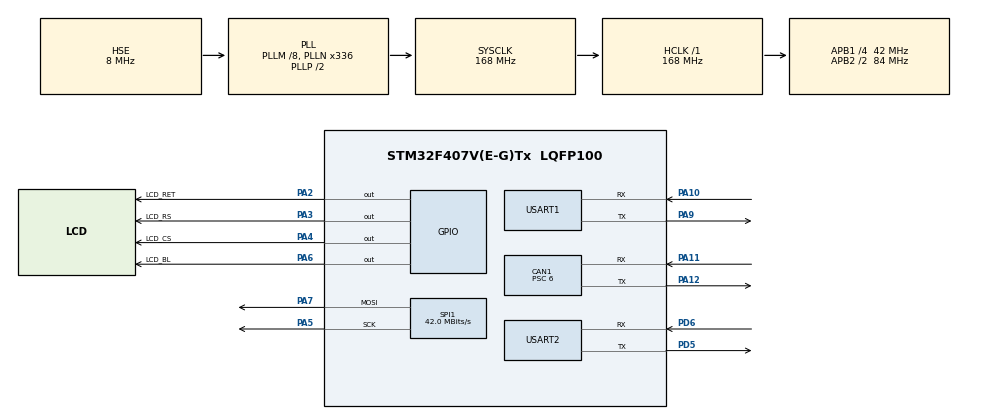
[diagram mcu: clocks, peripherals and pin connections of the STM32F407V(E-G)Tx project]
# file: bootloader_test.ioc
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CAN1.ABOM=ENABLE
CAN1.BS1=CAN_BS1_11TQ
CAN1.BS2=CAN_BS2_2TQ
CAN1.CalculateBaudRate=500000
CAN1.CalculateTimeBit=2000
CAN1.CalculateTimeQuantum=142.85714285714286
CAN1.NART=ENABLE
CAN1.Prescaler=6
CAN1.RFLM=DISABLE
CAN1.TXFP=ENABLE
Dma.Request0=USART1_RX
Dma.Request1=USART1_TX
Dma.Request2=SPI1_TX
Dma.Request3=USART2_RX
Dma.Request4=USART2_TX
Dma.SPI1_TX.2.Direction=DMA_MEMORY_TO_PERIPH
Dma.SPI1_TX.2.FIFOMode=DMA_FIFOMODE_DISABLE
Dma.SPI1_TX.2.Instance=DMA2_Stream3
Dma.SPI1_TX.2.MemDataAlignment=DMA_MDATAALIGN_BYTE
Dma.SPI1_TX.2.MemInc=DMA_MINC_ENABLE
Dma.SPI1_TX.2.Mode=DMA_NORMAL
Dma.SPI1_TX.2.PeriphDataAlignment=DMA_PDATAALIGN_BYTE
Dma.SPI1_TX.2.PeriphInc=DMA_PINC_DISABLE
Dma.SPI1_TX.2.Priority=DMA_PRIORITY_LOW
Dma.USART1_RX.0.Direction=DMA_PERIPH_TO_MEMORY
Dma.USART1_RX.0.FIFOMode=DMA_FIFOMODE_DISABLE
Dma.USART1_RX.0.Instance=DMA2_Stream2
Dma.USART1_RX.0.MemDataAlignment=DMA_MDATAALIGN_BYTE
Dma.USART1_RX.0.MemInc=DMA_MINC_ENABLE
Dma.USART1_RX.0.Mode=DMA_CIRCULAR
Dma.USART1_RX.0.PeriphDataAlignment=DMA_PDATAALIGN_BYTE
Dma.USART1_RX.0.PeriphInc=DMA_PINC_DISABLE
Dma.USART1_RX.0.Priority=DMA_PRIORITY_LOW
Dma.USART1_TX.1.Direction=DMA_MEMORY_TO_PERIPH
Dma.USART1_TX.1.FIFOMode=DMA_FIFOMODE_DISABLE
Dma.USART1_TX.1.Instance=DMA2_Stream7
Dma.USART1_TX.1.MemDataAlignment=DMA_MDATAALIGN_BYTE
Dma.USART1_TX.1.MemInc=DMA_MINC_ENABLE
Dma.USART1_TX.1.Mode=DMA_NORMAL
Dma.USART1_TX.1.PeriphDataAlignment=DMA_PDATAALIGN_BYTE
Dma.USART1_TX.1.PeriphInc=DMA_PINC_DISABLE
Dma.USART1_TX.1.Priority=DMA_PRIORITY_LOW
Dma.USART2_RX.3.Direction=DMA_PERIPH_TO_MEMORY
Dma.USART2_RX.3.FIFOMode=DMA_FIFOMODE_DISABLE
Dma.USART2_RX.3.Instance=DMA1_Stream5
Dma.USART2_RX.3.MemDataAlignment=DMA_MDATAALIGN_BYTE
Dma.USART2_RX.3.MemInc=DMA_MINC_ENABLE
Dma.USART2_RX.3.Mode=DMA_CIRCULAR
Dma.USART2_RX.3.PeriphDataAlignment=DMA_PDATAALIGN_BYTE
Dma.USART2_RX.3.PeriphInc=DMA_PINC_DISABLE
Dma.USART2_RX.3.Priority=DMA_PRIORITY_LOW
Dma.USART2_TX.4.Direction=DMA_MEMORY_TO_PERIPH
Dma.USART2_TX.4.FIFOMode=DMA_FIFOMODE_DISABLE
Dma.USART2_TX.4.Instance=DMA1_Stream6
Dma.USART2_TX.4.MemDataAlignment=DMA_MDATAALIGN_BYTE
Dma.USART2_TX.4.MemInc=DMA_MINC_ENABLE
Dma.USART2_TX.4.Mode=DMA_NORMAL
Dma.USART2_TX.4.PeriphDataAlignment=DMA_PDATAALIGN_BYTE
Dma.USART2_TX.4.PeriphInc=DMA_PINC_DISABLE
Dma.USART2_TX.4.Priority=DMA_PRIORITY_LOW
FREERTOS.Tasks01=led,0,128,ledTask,Default,NULL,Dynamic,NULL,NULL;oledmenu,0,256,oledmenuTask,Default,NULL,Dynamic,NULL,NULL;wifi_get,2,384,wifi_getTask,Default,NULL,Dynamic,NULL,NULL;ota_flash,2,256,ota_flashTask,Default,NULL,Dynamic,NULL,NULL;request_upgrade,0,128,request_upgradeTask,Default,NULL,Dynamic,NULL,NULL;lcd,-1,256,lcd_task,Default,NULL,Dynamic,NULL,NULL;feeddogTask,2,128,feeddog,Default,NULL,Dynamic,NULL,NULL;can_send,-3,128,cansend_Task,Default,NULL,Dynamic,NULL,NULL;can_get,-3,128,canget_Task,Default,NULL,Dynamic,NULL,NULL
IWDG.Prescaler=IWDG_PRESCALER_64
Mcu.Family=STM32F4
Mcu.Name=STM32F407V(E-G)Tx
Mcu.Package=LQFP100
NVIC.CAN1_RX0_IRQn=true\:5\:0\:false\:false\:true\:true\:true\:true\:true
NVIC.CAN1_SCE_IRQn=true\:7\:0\:true\:false\:true\:true\:true\:true\:true
NVIC.CAN1_TX_IRQn=true\:6\:0\:true\:false\:true\:true\:true\:true\:true
NVIC.DMA1_Stream5_IRQn=true\:5\:0\:false\:false\:true\:true\:false\:true\:true
NVIC.DMA1_Stream6_IRQn=true\:5\:0\:false\:false\:true\:true\:false\:true\:true
NVIC.DMA2_Stream2_IRQn=true\:5\:0\:false\:false\:true\:true\:false\:true\:true
NVIC.DMA2_Stream3_IRQn=true\:5\:0\:false\:false\:true\:true\:false\:true\:true
NVIC.DMA2_Stream7_IRQn=true\:5\:0\:false\:false\:true\:true\:false\:true\:true
NVIC.PriorityGroup=NVIC_PRIORITYGROUP_4
NVIC.SPI1_IRQn=true\:5\:0\:false\:false\:true\:true\:true\:true\:true
NVIC.TIM1_UP_TIM10_IRQn=true\:15\:0\:false\:false\:true\:false\:false\:true\:true
NVIC.TimeBase=TIM1_UP_TIM10_IRQn
NVIC.TimeBaseIP=TIM1
NVIC.USART1_IRQn=true\:5\:0\:false\:false\:true\:true\:false\:true\:true
NVIC.USART2_IRQn=true\:5\:0\:false\:false\:true\:true\:true\:true\:true
PA10.Mode=Asynchronous
PA10.Signal=USART1_RX
PA11.Mode=CAN_Activate
PA11.Signal=CAN1_RX
PA12.Mode=CAN_Activate
PA12.Signal=CAN1_TX
PA13.Mode=Serial_Wire
PA13.Signal=SYS_JTMS-SWDIO
PA14.Mode=Serial_Wire
PA14.Signal=SYS_JTCK-SWCLK
PA2.GPIO_Label=LCD_RET
PA2.GPIO_Speed=GPIO_SPEED_FREQ_MEDIUM
PA2.Signal=GPIO_Output
PA3.GPIO_Label=LCD_RS
PA3.GPIO_Speed=GPIO_SPEED_FREQ_MEDIUM
PA3.Signal=GPIO_Output
PA4.GPIO_Label=LCD_CS
PA4.GPIO_Speed=GPIO_SPEED_FREQ_MEDIUM
PA4.Signal=GPIO_Output
PA5.GPIO_Speed=GPIO_SPEED_FREQ_VERY_HIGH
PA5.Mode=TX_Only_Simplex_Unidirect_Master
PA5.Signal=SPI1_SCK
PA6.GPIO_Label=LCD_BL
PA6.GPIO_Speed=GPIO_SPEED_FREQ_MEDIUM
PA6.Signal=GPIO_Output
PA7.GPIO_Speed=GPIO_SPEED_FREQ_VERY_HIGH
PA7.Mode=TX_Only_Simplex_Unidirect_Master
PA7.Signal=SPI1_MOSI
PA9.Mode=Asynchronous
PA9.Signal=USART1_TX
PC14-OSC32_IN.Mode=LSE-External-Oscillator
PC14-OSC32_IN.Signal=RCC_OSC32_IN
PC15-OSC32_OUT.Mode=LSE-External-Oscillator
PC15-OSC32_OUT.Signal=RCC_OSC32_OUT
PD5.Mode=Asynchronous
PD5.Signal=USART2_TX
PD6.Mode=Asynchronous
PD6.Signal=USART2_RX
PH0-OSC_IN.Mode=HSE-External-Oscillator
PH0-OSC_IN.Signal=RCC_OSC_IN
PH1-OSC_OUT.Mode=HSE-External-Oscillator
PH1-OSC_OUT.Signal=RCC_OSC_OUT
ProjectManager.HeapSize=0x200
ProjectManager.StackSize=0x400
ProjectManager.TargetToolchain=MDK-ARM V5.32
RCC.48MHZClocksFreq_Value=84000000
RCC.AHBFreq_Value=168000000
RCC.APB1CLKDivider=RCC_HCLK_DIV4
RCC.APB1Freq_Value=42000000
RCC.APB1TimFreq_Value=84000000
RCC.APB2CLKDivider=RCC_HCLK_DIV2
RCC.APB2Freq_Value=84000000
RCC.APB2TimFreq_Value=168000000
RCC.CortexFreq_Value=168000000
RCC.HCLKFreq_Value=168000000
RCC.HSE_VALUE=8000000
RCC.HSI_VALUE=16000000
RCC.PLLM=8
RCC.PLLN=336
RCC.PLLSourceVirtual=RCC_PLLSOURCE_HSE
RCC.SYSCLKFreq_VALUE=168000000
RCC.SYSCLKSource=RCC_SYSCLKSOURCE_PLLCLK
RCC.VCOOutputFreq_Value=336000000
SPI1.CalculateBaudRate=42.0 MBits/s
SPI1.Direction=SPI_DIRECTION_2LINES
SPI1.Mode=SPI_MODE_MASTER
SPI1.VirtualType=VM_MASTER
USART1.VirtualMode=VM_ASYNC
USART2.VirtualMode=VM_ASYNC
VP_FREERTOS_VS_CMSIS_V1.Mode=CMSIS_V1
VP_IWDG_VS_IWDG.Mode=IWDG_Activate
VP_SYS_VS_tim1.Mode=TIM1
board=custom

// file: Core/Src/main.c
/* USER CODE BEGIN Header */
/**
 ******************************************************************************
 * @file           : main.c
 * @brief          : Main program body
 ******************************************************************************
 * @attention
 *
 * Copyright (c) 2026 STMicroelectronics.
 * All rights reserved.
 *
 * This software is licensed under terms that can be found in the LICENSE file
 * in the root directory of this software component.
 * If no LICENSE file comes with this software, it is provided AS-IS.
 *
 ******************************************************************************
 */
/* USER CODE END Header */
#include "main.h"
#include "cmsis_os.h"
#include "can.h"
#include "dma.h"
#include "iwdg.h"
#include "spi.h"
#include "usart.h"
#include "gpio.h"

/* USER CODE BEGIN Includes */
#include "ota_receive.h"
#include <stdio.h>
/* USER CODE END Includes */

void SystemClock_Config(void);
void MX_FREERTOS_Init(void);

int main(void)
{

  /* USER CODE BEGIN 1 */
	/* 向量表必须指向本镜像实际链接的槽：A 版 0x08020000，B 版 0x08060000 */
	SCB->VTOR = APP_IMAGE_BASE;
  /* USER CODE END 1 */

  /* MCU Configuration--------------------------------------------------------*/

  /* Reset of all peripherals, Initializes the Flash interface and the Systick. */
  HAL_Init();

  /* Configure the system clock */
  SystemClock_Config();

  /* Initialize all configured peripherals */
  MX_GPIO_Init();
  MX_DMA_Init();
  MX_USART1_UART_Init();
  MX_SPI1_Init();
  MX_IWDG_Init();
  MX_CAN1_Init();
  MX_USART2_UART_Init();
  /* USER CODE BEGIN 2 */

	/* 编译时间戳：确认板子上跑的到底是不是刚烧进去的这一版 */
	boot_log("[boot] build " __DATE__ " " __TIME__ "\r\n");

	GPIO_InitTypeDef GPIO_InitStructure;
	GPIO_InitStructure.Pin = GPIO_PIN_1;
	GPIO_InitStructure.Mode = GPIO_MODE_OUTPUT_PP;
	GPIO_InitStructure.Speed = GPIO_SPEED_FREQ_MEDIUM;
	HAL_GPIO_Init(GPIOA, &GPIO_InitStructure);

	/*
	 * 启动初始化：
	 *   1. 元数据缺失时用当前运行槽建立第一份配置；
	 *   2. Bootloader 若做过回退，这里修正 active_slot 并标记失败槽；
	 *   3. 注意：不清 trial_pending，试运行确认由心跳任务在健康运行 5s 后完成。
	 */
	ota_app_boot_init(APP_IMAGE_BASE);
	boot_log("[boot] 6 meta ok\r\n");

	/*
	 * F103 镜像暂存区自测：擦 S4 + 三处写图案 + 读回比对，耗时约 1~2 秒。
	 * 它会擦掉 S4 里已暂存的镜像，正式使用前把 OTA_STAGING_SELFTEST_ON_BOOT 改成 0。
	 */
#if OTA_STAGING_SELFTEST_ON_BOOT
	{
		char stg_line[48];
		int  stg_rc = ota_staging_selftest();

		(void)snprintf(stg_line, sizeof(stg_line), "[stg] selftest %s rc=%d\r\n",
		               (stg_rc == 0) ? "ok" : "FAIL", stg_rc);
		boot_log(stg_line);
	}
#endif

	/*
	 * CAN 初始化放到任务里执行：
	 * CAN 外设异常（无收发器、波特率配错、邮箱卡死）不应该把整个系统拖死在启动阶段，
	 * 否则表现就是"Bootloader 反复重启、APP 一句日志都看不到"。
	 */
	if (xTaskCreate(can_start_task, "canInit", 256, NULL, 3, NULL) != pdPASS)
	{
		boot_log("[boot] can task create fail\r\n");
	}
	boot_log("[boot] 7 start scheduler\r\n");

  /* USER CODE END 2 */

  /* Call init function for freertos objects (in cmsis_os2.c) */
  MX_FREERTOS_Init();

  /* Start scheduler */
  osKernelStart();

  /* We should never get here as control is now taken by the scheduler */

  /* Infinite loop */
	while (1)
	{

	}
}

void SystemClock_Config(void)
{
  RCC_OscInitTypeDef RCC_OscInitStruct = {0};
  RCC_ClkInitTypeDef RCC_ClkInitStruct = {0};

  /** Configure the main internal regulator output voltage
  */
  __HAL_RCC_PWR_CLK_ENABLE();
  __HAL_PWR_VOLTAGESCALING_CONFIG(PWR_REGULATOR_VOLTAGE_SCALE1);

  /** Initializes the RCC Oscillators according to the specified parameters
  * in the RCC_OscInitTypeDef structure.
  */
  RCC_OscInitStruct.OscillatorType = RCC_OSCILLATORTYPE_LSI|RCC_OSCILLATORTYPE_HSE;
  RCC_OscInitStruct.HSEState = RCC_HSE_ON;
  RCC_OscInitStruct.LSIState = RCC_LSI_ON;
  RCC_OscInitStruct.PLL.PLLState = RCC_PLL_ON;
  RCC_OscInitStruct.PLL.PLLSource = RCC_PLLSOURCE_HSE;
  RCC_OscInitStruct.PLL.PLLM = 8;
  RCC_OscInitStruct.PLL.PLLN = 336;
  RCC_OscInitStruct.PLL.PLLP = RCC_PLLP_DIV2;
  RCC_OscInitStruct.PLL.PLLQ = 4;
  if (HAL_RCC_OscConfig(&RCC_OscInitStruct) != HAL_OK)
  {
    Error_Handler();
  }

  /** Initializes the CPU, AHB and APB buses clocks
  */
  RCC_ClkInitStruct.ClockType = RCC_CLOCKTYPE_HCLK|RCC_CLOCKTYPE_SYSCLK
                              |RCC_CLOCKTYPE_PCLK1|RCC_CLOCKTYPE_PCLK2;
  RCC_ClkInitStruct.SYSCLKSource = RCC_SYSCLKSOURCE_PLLCLK;
  RCC_ClkInitStruct.AHBCLKDivider = RCC_SYSCLK_DIV1;
  RCC_ClkInitStruct.APB1CLKDivider = RCC_HCLK_DIV4;
  RCC_ClkInitStruct.APB2CLKDivider = RCC_HCLK_DIV2;

  if (HAL_RCC_ClockConfig(&RCC_ClkInitStruct, FLASH_LATENCY_5) != HAL_OK)
  {
    Error_Handler();
  }
}

void HAL_TIM_PeriodElapsedCallback(TIM_HandleTypeDef *htim)
{
  if (htim->Instance == TIM1)
  {
    HAL_IncTick();
  }
}

void Error_Handler(void)
{
	__disable_irq();
	while (1)
	{
	}
}

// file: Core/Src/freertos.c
/* USER CODE BEGIN Header */
/**
 ******************************************************************************
 * File Name          : freertos.c
 * Description        : Code for freertos applications
 ******************************************************************************
 * @attention
 *
 * Copyright (c) 2026 STMicroelectronics.
 * All rights reserved.
 *
 * This software is licensed under terms that can be found in the LICENSE file
 * in the root directory of this software component.
 * If no LICENSE file comes with this software, it is provided AS-IS.
 *
 ******************************************************************************
 */
/* USER CODE END Header */

#include "FreeRTOS.h"
#include "task.h"
#include "main.h"
#include "cmsis_os.h"

/* USER CODE BEGIN Includes */
#include "stm32f4xx_hal.h"
#include <stdio.h>
#include "string.h"
#include "usart.h"
#include "iwdg.h"
#include "wifi.h"
#include "ota_receive.h"
#include "isotp.h"
#include "uds.h"
#include "stream_buffer.h"
#include "queue.h"
#include "QDTFT_demo.h"
#include "Lcd_Driver.h"
#include "GUI.h"
/* USER CODE END Includes */

/* ==================== 临时联调任务 ==================== */
/*
 * 【临时】上电后对 node 1 跑一遍 UDS 下发链路，验证 F407 侧能不能正确发出
 * ISO-TP 的首帧/连续帧，以及"没有人回响应"时超时逻辑是否正常。
 *
 * F103 侧还没写好，所以预期输出：
 *   0x10 请求   -> 1 秒后返回 rc=-2（UDS_E_TIMEOUT）
 *   300 字节    -> 首帧发出后等流控 2 秒，返回 rc=-3（ISOTP_E_FC_TIMEOUT），frames=1
 *
 * frames=1 就说明首帧确实上了总线；如果 frames=0，问题在 can_if_send，不在协议层。
 * 联调完成后把 UDS_BOOT_TEST 改成 0，这段代码就不再参与编译。
 */
#ifndef UDS_BOOT_TEST
#define UDS_BOOT_TEST 1
#endif

#if UDS_BOOT_TEST
static uint8_t s_test_pdu[300];

/* 任务上下文里必须走 uart_send（互斥 + DMA），不能用 boot_log：
   boot_log 是阻塞式 HAL_UART_Transmit，和别的任务的 DMA 发送撞上时会直接
   返回 HAL_BUSY，字符串被静默丢弃——日志看着像"卡住了"，其实只是没打出来。 */
static void uds_log(const char *s)
{
	uart_send((const uint8_t *)s, (uint16_t)strlen(s));
}

static void uds_test_task(void const *argument)
{
	char     s[112];
	uint32_t i;
	uint32_t t0;
	int      rc;

	(void)argument;
	osDelay(3000);                     /* 等 CAN 初始化、心跳确认稳定 */

	for (i = 0U; i < sizeof(s_test_pdu); i++) {
		s_test_pdu[i] = (uint8_t)(i + 1U);
	}

	/* ① 会话控制：2 字节单帧请求，看能不能等到响应（当前必然超时） */
	t0 = HAL_GetTick();
	rc = uds_session(1U, UDS_SESSION_PROGRAM);
	(void)snprintf(s, sizeof(s), "[uds] 0x10 rc=%d nrc=%02X to=%u req=%u t=%ums\r\n",
	               rc,
	               (unsigned)uds_get_stat()->last_nrc,
	               (unsigned)uds_get_stat()->timeouts,
	               (unsigned)uds_get_stat()->requests,
	               (unsigned)(HAL_GetTick() - t0));
	uds_log(s);

	/* ② 300 字节 PDU：验证首帧发出、等流控、超时返回 */
	uds_log("[uds] step2 send 300B\r\n");
	isotp_reset_stat();
	t0 = HAL_GetTick();
	rc = isotp_send(UDS_REQ_ID(1U), UDS_RESP_ID(1U), s_test_pdu,
	                (uint32_t)sizeof(s_test_pdu), 2000U);
	(void)snprintf(s, sizeof(s), "[uds] isotp300 rc=%d frames=%u fcTO=%u t=%ums\r\n",
	               rc,
	               (unsigned)isotp_get_stat()->frames_sent,
	               (unsigned)isotp_get_stat()->fc_timeouts,
	               (unsigned)(HAL_GetTick() - t0));
	uds_log(s);

	uds_log("[uds] test done\r\n");
	vTaskDelete(NULL);                 /* 一次性任务，跑完自己退场 */
}
#endif

/* USER CODE BEGIN PD */

/*
 * 心跳位图：每个关键任务每轮循环给自己置一位，
 * feeddog 任务按 1s 窗口检查所有位是否都出现，全齐才喂狗。
 * 这样 IWDG 保护的是“任务级存活”，而不只是“CPU 还在跑”。
 */
#define HB_WIFI         (1U << 0)
#define HB_FLASH        (1U << 1)
#define HB_UPGRADE      (1U << 2)
#define HB_APP          (1U << 3)
#define HB_ALL          (HB_WIFI | HB_FLASH | HB_UPGRADE | HB_APP)

#define HB_CHECK_MS     100U
#define HB_WINDOW_TICKS (1000U / HB_CHECK_MS)   /* 1s 内必须收到所有任务的心跳 */

/* USER CODE END PD */

/* USER CODE BEGIN Variables */

/* 结束帧解析出的固件信息，供 request_upgrade_task 写入 config */
static uint32_t g_firmware_size = 0;
static uint32_t g_firmware_crc  = 0;
static uint32_t g_target_slot   = 0;   /* 本次下载写入的槽：0 = A，1 = B */

/* 各关键任务的心跳位图，由 feeddog 任务按窗口收集 */
static volatile uint32_t g_hb_mask = 0;

/* 固件下载中 / 元数据写入中：两条流程不能同时操作 Flash */
static volatile uint32_t g_ota_busy  = 0;
static volatile uint32_t g_meta_busy = 0;

static void hb_set(uint32_t bit)
{
	taskENTER_CRITICAL();
	g_hb_mask |= bit;
	taskEXIT_CRITICAL();
}

/*
 * 元数据临界区：ota_receive.c 里改用静态缓冲后，同一时刻只允许一处
 * 做"读-改-写"。这里用原子 test-and-set，避免"先判断再置位"的竞态。
 */
static int meta_lock(void)
{
	int ok = 0;

	taskENTER_CRITICAL();
	if (g_meta_busy == 0U)
	{
		g_meta_busy = 1U;
		ok = 1;
	}
	taskEXIT_CRITICAL();
	return ok;
}

static void meta_unlock(void)
{
	g_meta_busy = 0U;
}

/* USER CODE END Variables */
osThreadId ledHandle;
osThreadId oledmenuHandle;
osThreadId wifi_getHandle;
osThreadId ota_flashHandle;
osThreadId request_upgradeHandle;
osThreadId lcdHandle;
osThreadId feeddogTaskHandle;
osThreadId can_sendHandle;
osThreadId can_getHandle;

void ledTask(void const * argument);
void oledmenuTask(void const * argument);
void wifi_getTask(void const * argument);
void ota_flashTask(void const * argument);
void request_upgradeTask(void const * argument);
void lcd_task(void const * argument);
void feeddog(void const * argument);
void cansend_Task(void const * argument);
void canget_Task(void const * argument);

void MX_FREERTOS_Init(void); /* (MISRA C 2004 rule 8.1) */

/* GetIdleTaskMemory prototype (linked to static allocation support) */
void vApplicationGetIdleTaskMemory( StaticTask_t **ppxIdleTaskTCBBuffer, StackType_t **ppxIdleTaskStackBuffer, uint32_t *pulIdleTaskStackSize );

/* USER CODE BEGIN GET_IDLE_TASK_MEMORY */
static StaticTask_t xIdleTaskTCBBuffer;
static StackType_t xIdleStack[configMINIMAL_STACK_SIZE];

void vApplicationGetIdleTaskMemory(StaticTask_t **ppxIdleTaskTCBBuffer, StackType_t **ppxIdleTaskStackBuffer, uint32_t *pulIdleTaskStackSize)
{
	*ppxIdleTaskTCBBuffer = &xIdleTaskTCBBuffer;
	*ppxIdleTaskStackBuffer = &xIdleStack[0];
	*pulIdleTaskStackSize = configMINIMAL_STACK_SIZE;
	/* place for user code */
}
/* USER CODE END GET_IDLE_TASK_MEMORY */

void MX_FREERTOS_Init(void) {
  /* USER CODE BEGIN Init */
	/* 创建流缓冲区与队列：必须在任何任务使用它们之前调用 */
	ota_receive_init();
  /* USER CODE END Init */

  /* USER CODE BEGIN RTOS_QUEUES */
	/* xFrameQueue / atQueue 由 ota_receive_init() 创建：元素分别是 fw_frame_t 和 AT_LINE_MAX 字节的行，
	   不能用 CMSIS 消息队列（只支持 1/2/4/8 字节元素） */
  /* USER CODE END RTOS_QUEUES */

  /* Create the thread(s) */
  /* definition and creation of led */
  osThreadDef(led, ledTask, osPriorityNormal, 0, 128);
  ledHandle = osThreadCreate(osThread(led), NULL);

  /* definition and creation of oledmenu */
  osThreadDef(oledmenu, oledmenuTask, osPriorityNormal, 0, 256);
  oledmenuHandle = osThreadCreate(osThread(oledmenu), NULL);

  /* definition and creation of wifi_get */
  osThreadDef(wifi_get, wifi_getTask, osPriorityHigh, 0, 384);
  wifi_getHandle = osThreadCreate(osThread(wifi_get), NULL);

  /* definition and creation of ota_flash */
  osThreadDef(ota_flash, ota_flashTask, osPriorityHigh, 0, 768);
  ota_flashHandle = osThreadCreate(osThread(ota_flash), NULL);

  /* definition and creation of request_upgrade */
  osThreadDef(request_upgrade, request_upgradeTask, osPriorityNormal, 0, 512);
  request_upgradeHandle = osThreadCreate(osThread(request_upgrade), NULL);

  /* definition and creation of lcd */
  osThreadDef(lcd, lcd_task, osPriorityBelowNormal, 0, 256);
  lcdHandle = osThreadCreate(osThread(lcd), NULL);

  /* definition and creation of feeddogTask */
  osThreadDef(feeddogTask, feeddog, osPriorityHigh, 0, 512);
  feeddogTaskHandle = osThreadCreate(osThread(feeddogTask), NULL);

  /* definition and creation of can_send */
  osThreadDef(can_send, cansend_Task, osPriorityIdle, 0, 128);
  can_sendHandle = osThreadCreate(osThread(can_send), NULL);

  /* definition and creation of can_get */
  osThreadDef(can_get, canget_Task, osPriorityIdle, 0, 128);
  can_getHandle = osThreadCreate(osThread(can_get), NULL);

#if UDS_BOOT_TEST
  /* 【临时】UDS/ISO-TP 联调任务，跑一次就自己退出 */
  osThreadDef(uds_test, uds_test_task, osPriorityBelowNormal, 0, 512);
  (void)osThreadCreate(osThread(uds_test), NULL);
#endif

  /* USER CODE BEGIN RTOS_THREADS */
	/* ota_flashTask 通过这个句柄通知 request_upgradeTask，必须在任务启动前绑定 */
	xrequest_upgrade_taskHandle = request_upgradeHandle;
  /* USER CODE END RTOS_THREADS */

}

void ledTask(void const * argument)
{
  /* USER CODE BEGIN ledTask */
    HAL_GPIO_WritePin(GPIOA, GPIO_PIN_1,GPIO_PIN_RESET);
    osDelay(500);

	/* Infinite loop */
	for (;;)
	{
		hb_set(HB_APP);
		HAL_GPIO_TogglePin(GPIOA, GPIO_PIN_1);

		osDelay(500);
	}
  /* USER CODE END ledTask */
}

void oledmenuTask(void const * argument)
{
  /* USER CODE BEGIN oledmenuTask */
	/* Infinite loop */
    Lcd_Init();
    LCD_LED_SET;//通过IO控制背光亮
	for (;;)
	{
//		static const char msg[] = "here is oledmenuTask!\r\n";
//		uart_send((const uint8_t *)msg, sizeof(msg) - 1);
        QDTFT_Test_Demo();
		osDelay(10);
	}
  /* USER CODE END oledmenuTask */
}

/* USER CODE BEGIN Header_wifi_getTask */
/**
 * @brief Function implementing the wifi_get thread.
 * @param argument: Not used
 * @retval None
 */
/* ==================== 逐字节解析帧状态机 + AT 行处理 ==================== */
/* USER CODE END Header_wifi_getTask */
void wifi_getTask(void const * argument)
{
  /* USER CODE BEGIN wifi_getTask */
	/* Infinite loop */

	uint8_t byte;
	uint8_t line[AT_LINE_MAX];
	size_t line_len = 0;
	parser_t parser;

	/* 初始化解析器 */
	memset(&parser, 0, sizeof(parser));
	parser.state = 0; /* ST_HEADER_1 */

	TickType_t last_report = xTaskGetTickCount();

	for (;;)
	{
		hb_set(HB_WIFI);

		/*
		 * 每秒打印一次状态。
		 * 注意：这里不能调用 osDelay()，否则整个循环被拖成 1 字节/秒，
		 * OTA 数据会被 StreamBuffer 丢弃，永远收不到结束帧。
		 */
		if ((xTaskGetTickCount() - last_report) >= pdMS_TO_TICKS(1000))
		{
			char version_str[32];
			last_report = xTaskGetTickCount();

			/* 将 0x00010001 拆解成 V1.1 的字符串 */
			sprintf(version_str, "Version: V%d.%d\r\n",
			        (CURRENT_VERSION >> 16) & 0xFF, CURRENT_VERSION & 0xFF);
			uart_send((uint8_t *)version_str, strlen(version_str));

			static const char msg[] = "here is wifi_getTask!\r\n";
			uart_send((const uint8_t *)msg, sizeof(msg) - 1);
		}

		/* 一次读一个字节；20ms 超时只是为了回到循环顶部打印状态 */
		if (xStreamBufferReceive(uartStreamBuffer, &byte, 1, pdMS_TO_TICKS(20)) != 1)
			continue;

		/* ---------- 状态机 ---------- */
		switch (parser.state)
		{

		/* ===== 状态 0：等 0x55，同时处理 AT 行 ===== */
		case 0: /* ST_HEADER_1 */
			/* AT 行处理：遇到 \n 提交一行 */
			if (byte == '\n' && line_len > 0)
			{
				line[line_len] = '\0';
				xQueueSend(atQueue, line, 0);
				line_len = 0;
			}
			else if (byte != '\r')
			{
				if (line_len < AT_LINE_MAX - 1)
					line[line_len++] = byte;
			}

			/* 检测帧头起点 */
			if (byte == FRAME_HEADER_1)
			{
				parser.state = 1; /* ST_HEADER_2 */
			}
			break;

		/* ===== 状态 1：等 0x44 ===== */
		case 1: /* ST_HEADER_2 */
			if (byte == FRAME_HEADER_2)
			{
				/* 帧头确认，从帧池分配 slot */
				parser.slot = frame_pool_alloc();
				if (parser.slot == NULL)
				{
					parser.state = 0; /* 无空闲 slot，丢弃这一帧 */
					break;
				}
				parser.crc32 = 0;
				parser.crc_byte_idx = 0;
				parser.data_idx = 0;
				parser.state = 2; /* ST_TOTAL */
			}
			else if (byte == FRAME_HEADER_1)
			{
				/* 连续 0x55，保持在 ST_HEADER_2 */
				parser.state = 1;
			}
			else
			{
				/* 不是 0x44，回起点；当前字节按 AT 处理 */
				if (byte == '\n' && line_len > 0)
				{
					line[line_len] = '\0';
					xQueueSend(atQueue, line, 0);
					line_len = 0;
				}
				else if (byte != '\r')
				{
					if (line_len < AT_LINE_MAX - 1)
						line[line_len++] = byte;
				}
				parser.state = 0;
			}
			break;

		/* ===== 状态 2：读总包数 ===== */
		case 2: /* ST_TOTAL */
			parser.total_packets = byte;
			parser.state = 3; /* ST_CURRENT */
			break;

		/* ===== 状态 3：读当前包号 ===== */
		case 3: /* ST_CURRENT */
			parser.current_packet = byte;
			parser.data_len = 0;
			parser.len_byte_idx = 0;
			parser.state = 4; /* ST_LEN */
			break;

		/* ===== 状态 4：读实际长度（2 字节，小端） ===== */
		case 4: /* ST_LEN */
			parser.data_len |= (uint16_t)((uint16_t)byte << (parser.len_byte_idx * 8));
			parser.len_byte_idx++;
			if (parser.len_byte_idx >= 2)
			{
				if (parser.data_len == 0 || parser.data_len > DATA_FRAME_LEN)
				{
					/* 非法长度，回起点，释放 slot */
					frame_pool_free(parser.slot);
					parser.slot = NULL;
					parser.state = 0;
				}
				else
				{
					parser.crc_byte_idx = 0;
					parser.state = 5; /* ST_CRC */
				}
			}
			break;

		/* ===== 状态 5：读 4 字节 CRC32（小端） ===== */
		case 5: /* ST_CRC */
			parser.crc32 |= ((uint32_t)byte) << (parser.crc_byte_idx * 8);
			parser.crc_byte_idx++;
			if (parser.crc_byte_idx >= 4)
			{
				parser.data_idx = 0;
				parser.state = 6; /* ST_DATA */
			}
			break;

		/* ===== 状态 6：读数据（固定 DATA_FRAME_LEN 字节） ===== */
		case 6: /* ST_DATA */
			parser.slot->buf[parser.data_idx++] = byte;
			if (parser.data_idx >= DATA_FRAME_LEN)
			{
				parser.state = 7; /* ST_TAIL_1 */
			}
			break;

		/* ===== 状态 7：等 0x33 ===== */
		case 7: /* ST_TAIL_1 */
			if (byte == FRAME_TAIL_1)
			{
				parser.state = 8; /* ST_TAIL_2 */
			}
			else
			{
				frame_pool_free(parser.slot);
				parser.slot = NULL;
				parser.state = 0;
			}
			break;

		/* ===== 状态 8：等 0x22，帧完成 ===== */
		case 8: /* ST_TAIL_2 */
			if (byte == FRAME_TAIL_2)
			{
				/* 帧完成，校验 CRC */
				parser.crc_calc = calculate_crc32_ex(
					parser.total_packets,
					parser.current_packet,
					parser.data_len,
					parser.slot->buf);

				if (parser.crc_calc == parser.crc32)
				{
					/* CRC 通过，交给 Flash 写入 */
					fw_frame_t frame;
					frame.total_packets = parser.total_packets;
					frame.current_packet = parser.current_packet;
					frame.data_len = parser.data_len;
					frame.crc32 = parser.crc32;
					frame.slot = parser.slot;

					if (xQueueSend(xFrameQueue, &frame, 0) != pdTRUE)
					{
						/* 队列满，归还 slot */
						frame_pool_free(parser.slot);
					}
					/* 注意：slot 在这里不 free，由 Flash 任务 free */
				}
				else
				{
					/* CRC 失败，归还 slot */
					frame_pool_free(parser.slot);
				}
				parser.slot = NULL;
				parser.state = 0;
				line_len = 0;
			}
			else
			{
				frame_pool_free(parser.slot);
				parser.slot = NULL;
				parser.state = 0;
			}
			break;

		default:
			parser.state = 0;
			break;
		}
	}
  /* USER CODE END wifi_getTask */
}

/* USER CODE BEGIN Header_ota_flashTask */
/**
 * @brief Function implementing the ota_flash thread.
 * @param argument: Not used
 * @retval None
 */
/* ==================== Flash 写任务 ==================== */
/* USER CODE END Header_ota_flashTask */
void ota_flashTask(void const * argument)
{
  /* USER CODE BEGIN ota_flashTask */
	/* Infinite loop */

	fw_frame_t frame;
	uint32_t write_addr;
	uint32_t received_count = 0;        /* 已成功写入的数据帧数，用于收齐校验 */
	uint32_t erased_sector_base = 0xFFFFFFFFU;  /* 本次传输已擦除的扇区基址 */
	uint32_t target_base = 0;           /* 本次传输的目标槽基址 */
	uint32_t target_slot = 0;           /* 本次传输的目标槽：0 = A，1 = B */

	(void)argument;

	for (;;)
	{
		hb_set(HB_FLASH);

		/* 200ms 超时只是为了周期性回到循环顶部打卡，收帧仍按队列事件触发 */
		if (xQueueReceive(xFrameQueue, &frame, pdMS_TO_TICKS(200)) != pdTRUE)
			continue;

		/* 判断是否是结束帧 */
		if (frame.current_packet == PACKET_END)
		{
			uint32_t fw_size = 0;
			uint32_t fw_crc = 0;
			int verified = 0;

			/* 结束帧负载：data[0:4]=固件总长(小端), data[4:8]=整包 CRC32(小端) */
			if (frame.data_len >= 8)
			{
				fw_size = (uint32_t)frame.slot->buf[0] | ((uint32_t)frame.slot->buf[1] << 8) | ((uint32_t)frame.slot->buf[2] << 16) | ((uint32_t)frame.slot->buf[3] << 24);
				fw_crc = (uint32_t)frame.slot->buf[4] | ((uint32_t)frame.slot->buf[5] << 8) | ((uint32_t)frame.slot->buf[6] << 16) | ((uint32_t)frame.slot->buf[7] << 24);
			}
			frame_pool_free(frame.slot);

			/*
			 * 全量校验：收齐包数 + 直接读回目标槽算整包 CRC + 向量表检查。
			 * 只有这三项都通过，才允许把 active_slot 切到新槽。
			 */
			if (target_base != 0U && fw_size != 0U && fw_size <= SLOT_CAPACITY &&
			    received_count == frame.total_packets)
			{
				uint32_t calc_crc = ota_crc32_bytes((const void *)target_base, fw_size);

				if (calc_crc == fw_crc && ota_image_vectors_valid(target_base))
				{
					g_firmware_size = fw_size;
					g_firmware_crc  = fw_crc;
					g_target_slot   = target_slot;
					verified = 1;
				}
			}

			if (verified)
			{
				xTaskNotify(xrequest_upgrade_taskHandle, 0x01, eSetValueWithOverwrite);
			}
			else
			{
				char err[72];
				int n = sprintf(err, "ota verify fail! recv=%lu/%u size=%lu\r\n",
				                (unsigned long)received_count,
				                (unsigned int)frame.total_packets,
				                (unsigned long)fw_size);
				uart_send((const uint8_t *)err, (uint32_t)n);
			}

			received_count = 0;
			erased_sector_base = 0xFFFFFFFFU;
			target_base = 0;   /* 等待下一轮的包 0 */
			g_ota_busy = 0;
			continue;          /* 结束帧不写 Flash，直接继续 */
		}

		/* 新一轮传输开始：目标槽 = 当前运行槽之外的另一个槽 */
		if (frame.current_packet == 0)
		{
			received_count = 0;
			erased_sector_base = 0xFFFFFFFFU;
			g_ota_busy = 1;    /* 下载期间禁止 feeddog 写元数据确认 */

			/*
			 * 只用“本镜像的链接地址”判断当前运行槽，不去猜元数据。
			 * 这样无论元数据是否损坏、是否与实际运行槽不一致，
			 * 都绝不会把正在运行的固件擦掉。
			 */
			target_slot = (uint32_t)(APP_IMAGE_SLOT ^ 1U);
			target_base = (target_slot == 0U) ? SLOT_A_BASE : SLOT_B_BASE;
		}

		if (target_base == 0U)
		{
			/* 没收到包 0，无法确定目标槽，丢弃 */
			frame_pool_free(frame.slot);
			continue;
		}

		write_addr = target_base + ((uint32_t)frame.current_packet * DATA_FRAME_LEN);

		/* 边界保护：不能写穿目标槽容量 */
		if (write_addr + DATA_FRAME_LEN > (target_base + SLOT_CAPACITY))
		{
			frame_pool_free(frame.slot);
			continue;
		}

		/* 等 feeddog 的元数据写入结束，避免两条流程同时操作 Flash */
		while (g_meta_busy)
		{
			osDelay(10);
		}

		{
			uint32_t sector_base = get_sector_base(write_addr);

			/* 首次写到一个扇区时才擦除；擦除单位取该扇区的真实大小（16/64/128KB） */
			if (sector_base != erased_sector_base)
			{
				uint32_t sector_size = get_sector_size(get_sector(sector_base));

				if (flash_erase(sector_base, sector_size) != Status_OK)
				{
					frame_pool_free(frame.slot);
					continue;
				}
				erased_sector_base = sector_base;
			}
		}

		/* 写 Flash，只写实际长度，不写 padding */
		if (flash_write(write_addr, frame.slot->buf, frame.data_len) == Status_OK)
			received_count++; /* 写入成功，计入已收帧数 */

		/* 归还 slot */
		frame_pool_free(frame.slot);
	}
  /* USER CODE END ota_flashTask */
}

void request_upgradeTask(void const * argument)
{
  /* USER CODE BEGIN request_upgradeTask */
	/* Infinite loop */

	(void)argument;

	for (;;)
	{
		uint8_t current_slot;
		uint8_t target_slot;
		int ret;

		hb_set(HB_UPGRADE);

		/* 200ms 超时用于周期打卡；只有收到通知才继续升级流程 */
		if (xTaskNotifyWait(0, 0, NULL, pdMS_TO_TICKS(200)) != pdTRUE)
			continue;

		if (xWifisendTaskHandle != NULL)
			xTaskNotify(xWifisendTaskHandle, 0x02, eSetValueWithOverwrite);

		target_slot = (uint8_t)g_target_slot;
		if (target_slot > 1U || g_firmware_size == 0U)
			continue;

		/* 当前运行槽一定是目标槽的另一半 */
		current_slot = (uint8_t)(target_slot ^ 1U);

		/*
		 * 切换标志：active_slot 指向新槽，Bootloader 下次启动直接跳过去。
		 * 元数据整块读写都在 ota_receive.c 内部用静态缓冲完成，这里不再占栈。
		 */
		while (!meta_lock())
			osDelay(10);
		ret = ota_meta_request_switch(current_slot, target_slot,
		                              g_firmware_size, g_firmware_crc);
		meta_unlock();

		if (ret == 0)
		{
			static const char ok[] = "upgrade ok, reboot to new slot...\r\n";
			uart_send((const uint8_t *)ok, sizeof(ok) - 1);
			osDelay(50);
			NVIC_SystemReset();
		}
		else
		{
			static const char err[] = "meta save fail!\r\n";
			uart_send((const uint8_t *)err, sizeof(err) - 1);
		}
	}
  /* USER CODE END request_upgradeTask */
}

void lcd_task(void const * argument)
{
  /* USER CODE BEGIN lcd_task */

  /* Infinite loop */
  for(;;)
  {
	// QDTFT_Test_Demo();
    osDelay(10);
  }
  /* USER CODE END lcd_task */
}

void feeddog(void const * argument)
{
  /* USER CODE BEGIN feeddog */
	uint32_t seen = 0;
	uint32_t ticks = 0;
	uint32_t healthy_ms = 0;
	int confirmed = 0;
	uint8_t mem_reported = 0;
	uint16_t up_sec = 0;

	(void)argument;

	/*
	 * 每 100ms 收集一次心跳，按 1s 窗口判定：
	 *   - 窗口内四个关键任务都打过卡 → 喂狗；
	 *   - 有任务缺席 → 不喂，交给 IWDG 复位（新固件会被 Bootloader 回滚）。
	 * 连续 5s 健康后，确认本次试运行成功，清掉 trial_pending。
	 */
	for (;;)
	{
		taskENTER_CRITICAL();
		seen |= g_hb_mask;
		g_hb_mask = 0;
		taskEXIT_CRITICAL();

		if (++ticks >= HB_WINDOW_TICKS)
		{
			/*
			 * 上电 10s 打印一次内存余量：
			 *   heap  = 当前剩余 / 历史最低剩余（字节）
			 *   stack = 各任务栈自启动以来的最小剩余量（word），越小越接近溢出
			 */
			if (!mem_reported && ++up_sec >= 10U)
			{
				char mb[160];

				mem_reported = 1;
				(void)snprintf(mb, sizeof(mb), "[mem] heap free=%u min=%u\r\n",
				               (unsigned)xPortGetFreeHeapSize(),
				               (unsigned)xPortGetMinimumEverFreeHeapSize());
				boot_log(mb);

				(void)snprintf(mb, sizeof(mb),
				               "[mem] stack left(w): led=%u oled=%u wifi=%u flash=%u upg=%u lcd=%u dog=%u\r\n",
				               (unsigned)uxTaskGetStackHighWaterMark(ledHandle),
				               (unsigned)uxTaskGetStackHighWaterMark(oledmenuHandle),
				               (unsigned)uxTaskGetStackHighWaterMark(wifi_getHandle),
				               (unsigned)uxTaskGetStackHighWaterMark(ota_flashHandle),
				               (unsigned)uxTaskGetStackHighWaterMark(request_upgradeHandle),
				               (unsigned)uxTaskGetStackHighWaterMark(lcdHandle),
				               (unsigned)uxTaskGetStackHighWaterMark(feeddogTaskHandle));
				boot_log(mb);
			}

			if (seen == HB_ALL)
			{
				HAL_IWDG_Refresh(&hiwdg);

				if (!confirmed)
				{
					healthy_ms += 1000U;
					/* 下载/写元数据期间不确认，避免和 ota_flashTask 抢 Flash */
					if (healthy_ms >= OTA_CONFIRM_WINDOW_MS && !g_ota_busy && meta_lock())
					{
						int ret;
						static const char c1[] = "[hb] confirm begin\r\n";
						static const char c2[] = "[hb] confirm done\r\n";
						/* 诊断打印一律走轮询，避免依赖串口互斥锁与 DMA */
						boot_log(c1);

						ret = ota_app_confirm_healthy(APP_IMAGE_BASE);
						meta_unlock();

						boot_log(c2);

						if (ret >= 0)
						{
							confirmed = 1;
							if (ret == 1)
							{
								static const char msg[] = "trial confirmed\r\n";
								uart_send((const uint8_t *)msg, sizeof(msg) - 1);
							}
						}
					}
				}
			}
			else
			{
				/* 有任务缺席：打印缺了哪一位（bit0=WIFI bit1=FLASH bit2=UPGRADE bit3=APP） */
				char hb_line[32];
				(void)snprintf(hb_line, sizeof(hb_line), "[hb] miss=%02lX\r\n",
				               (unsigned long)(HB_ALL & ~seen));
				boot_log(hb_line);

				/* 有任务缺席：清零健康计时，且本窗口不喂狗 */
				healthy_ms = 0;
			}

			seen = 0;
			ticks = 0;
		}

		osDelay(HB_CHECK_MS);
	}
  /* USER CODE END feeddog */
}

void cansend_Task(void const * argument)
{
  for(;;)
  {
    osDelay(1);
  }
}

void canget_Task(void const * argument)
{
  for(;;)
  {
    osDelay(1);
  }
}

/* USER CODE BEGIN Application */

/*
 * FreeRTOS 断言钩子。
 * 常见触发原因：在优先级不合法（数值 < configLIBRARY_MAX_SYSCALL_INTERRUPT_PRIORITY）
 * 的中断里调用了 FromISR API、在调度器挂起时调用了阻塞 API、队列/信号量句柄为空。
 * 这里直接轮询 USART1 打印行号，不依赖互斥锁与中断。
 */
void vAssertCalled(uint32_t line)
{
	char buf[40];
	(void)snprintf(buf, sizeof(buf), "\r\n[ASSERT] line=%lu\r\n", (unsigned long)line);
	boot_log(buf);
	for (;;)
	{
	}
}

/*
 * 栈溢出钩子。ota_config_t 的读写已经改成静态缓冲，调用方不再在栈上复制
 * 302 字节结构体；这里保留钩子作为兜底，出现即说明某个任务栈给小了。
 */
void vApplicationStackOverflowHook(TaskHandle_t xTask, char *pcTaskName)
{
	char buf[64];
	(void)xTask;
	(void)snprintf(buf, sizeof(buf), "\r\n[STACK] overflow task=%s\r\n", pcTaskName);
	boot_log(buf);
	for (;;)
	{
	}
}

/* USER CODE END Application */
